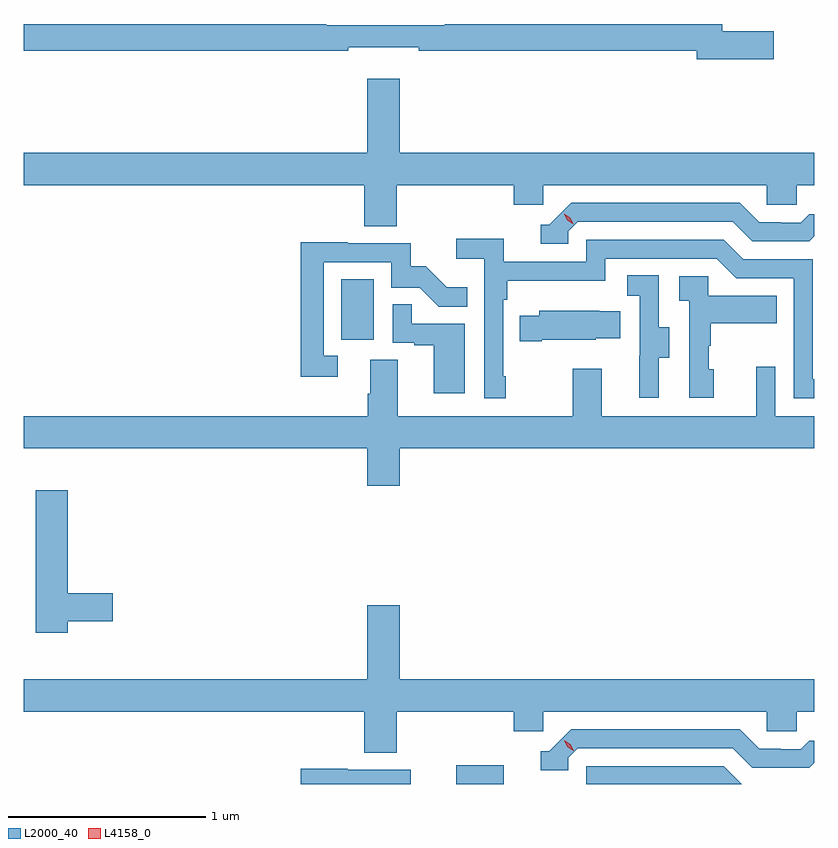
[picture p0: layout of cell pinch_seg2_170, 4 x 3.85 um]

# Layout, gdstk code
import gdstk
lib = gdstk.Library(unit=1e-6, precision=1e-09)
def R(c, l, rs):  # rectangles x0, y0, x1, y1
    for r in rs: c.add(gdstk.rectangle(r[:2], r[2:], *l))
def P(c, l, *ps):  # polygons
    for p in ps: c.add(gdstk.Polygon(p, *l))
L2000_40 = (2000, 40)
L4158_0 = (4158, 0)

pinch_seg2_170 = lib.new_cell('pinch_seg2_170')
R(pinch_seg2_170, L2000_40, [(1142.481,631.286,1142.72,631.382), (1141.898,633.534,1142.062,633.841)])
P(pinch_seg2_170, L2000_40, [(1144.087,635.096),(1143.826,635.096),(1143.826,635.132),(1142.422,635.132),(1142.422,635.125),(1141.822,635.125),(1141.822,635.132),(1140.292,635.132),(1140.292,634.996),(1141.934,634.996),(1141.934,635.015),(1142.29,635.015),(1142.29,634.996),(1143.698,634.996),(1143.698,634.954),(1144.087,634.954)],
  [(1142.18,634.316),(1142.771,634.316),(1142.771,634.218),(1142.922,634.218),(1142.922,634.316),(1144.053,634.316),(1144.053,634.218),(1144.203,634.218),(1144.203,634.316),(1144.292,634.316),(1144.292,634.48),(1142.194,634.48),(1142.194,634.855),(1142.03,634.855),(1142.03,634.48),(1140.292,634.48),(1140.292,634.316),(1142.015,634.316),(1142.015,634.108),(1142.18,634.108)],
  [(1143.048,634.083),(1143.096,634.131),(1143.879,634.131),(1143.978,634.032),(1144.267,634.032),(1144.292,634.057),(1144.292,634.168),(1144.267,634.168),(1144.225,634.125),(1144.122,634.125),(1144.122,634.128),(1144.015,634.128),(1143.916,634.227),(1143.063,634.227),(1142.952,634.116),(1142.909,634.116),(1142.909,634.02),(1143.048,634.02)],
  [(1142.731,633.349),(1142.718,633.349),(1142.718,633.737),(1142.738,633.737),(1142.738,633.833),(1143.234,633.833),(1143.234,633.945),(1143.798,633.945),(1143.897,633.846),(1144.188,633.846),(1144.188,633.237),(1144.292,633.237),(1144.292,633.333),(1144.284,633.333),(1144.284,633.942),(1143.934,633.942),(1143.835,634.041),(1143.138,634.041),(1143.138,633.93),(1142.72,633.93),(1142.72,634.046),(1142.481,634.046),(1142.481,633.944),(1142.622,633.944),(1142.622,633.237),(1142.731,633.237)],
  [(1141.882,633.453),(1141.809,633.453),(1141.809,633.927),(1142.151,633.927),(1142.151,633.798),(1142.295,633.798),(1142.393,633.7),(1142.537,633.7),(1142.537,633.799),(1142.433,633.799),(1142.326,633.906),(1142.25,633.906),(1142.25,634.023),(1141.931,634.023),(1141.931,634.028),(1141.693,634.028),(1141.693,633.348),(1141.882,633.348)],
  [(1143.505,633.442),(1143.559,633.442),(1143.559,633.597),(1143.504,633.597),(1143.504,633.86),(1143.345,633.86),(1143.345,633.757),(1143.408,633.757),(1143.408,633.453),(1143.407,633.453),(1143.407,633.24),(1143.505,633.24)],
  [(1143.784,633.384),(1143.759,633.384),(1143.759,633.503),(1143.769,633.503),(1143.769,633.617),(1144.103,633.617),(1144.103,633.757),(1143.756,633.757),(1143.756,633.855),(1143.609,633.855),(1143.609,633.731),(1143.66,633.731),(1143.66,633.24),(1143.784,633.24)],
  [(1142.524,633.615),(1142.255,633.615),(1142.255,633.713),(1142.16,633.713),(1142.16,633.519),(1142.267,633.519),(1142.267,633.507),(1142.366,633.507),(1142.366,633.264),(1142.524,633.264)],
  [(1142.914,633.533),(1143.186,633.533),(1143.186,633.542),(1143.311,633.542),(1143.311,633.679),(1143.203,633.679),(1143.203,633.682),(1142.901,633.682),(1142.901,633.655),(1142.803,633.655),(1142.803,633.526),(1142.914,633.526)],
  [(1142.194,632.984),(1144.292,632.984),(1144.292,633.148),(1144.095,633.148),(1144.095,633.397),(1143.998,633.397),(1143.998,633.148),(1143.217,633.148),(1143.217,633.388),(1143.07,633.388),(1143.07,633.148),(1142.185,633.148),(1142.185,633.434),(1142.045,633.434),(1142.045,633.26),(1142.033,633.26),(1142.033,633.148),(1140.292,633.148),(1140.292,632.984),(1142.03,632.984),(1142.03,632.796),(1142.194,632.796)],
  [(1140.514,632.11),(1140.742,632.11),(1140.742,632.252),(1140.514,632.252),(1140.514,632.773),(1140.353,632.773),(1140.353,632.052),(1140.514,632.052)],
  [(1142.18,631.652),(1142.771,631.652),(1142.771,631.554),(1142.922,631.554),(1142.922,631.652),(1144.053,631.652),(1144.053,631.554),(1144.203,631.554),(1144.203,631.652),(1144.292,631.652),(1144.292,631.816),(1142.194,631.816),(1142.194,632.191),(1142.03,632.191),(1142.03,631.816),(1140.292,631.816),(1140.292,631.652),(1142.015,631.652),(1142.015,631.444),(1142.18,631.444)],
  [(1143.048,631.419),(1143.096,631.467),(1143.879,631.467),(1143.978,631.368),(1144.267,631.368),(1144.292,631.393),(1144.292,631.504),(1144.267,631.504),(1144.225,631.461),(1144.122,631.461),(1144.122,631.464),(1144.015,631.464),(1143.916,631.563),(1143.063,631.563),(1142.952,631.452),(1142.909,631.452),(1142.909,631.356),(1143.048,631.356)],
  [(1143.835,631.377),(1143.138,631.377),(1143.138,631.286),(1143.926,631.286)],
  [(1142.25,631.359),(1141.931,631.359),(1141.931,631.364),(1141.693,631.364),(1141.693,631.286),(1142.25,631.286)])
P(pinch_seg2_170, L4158_0, [(1143.073,631.455),(1143.043,631.474),(1143.027,631.507),(1143.027,631.507),(1143.028,631.507),(1143.058,631.488),(1143.074,631.455),(1143.074,631.455)],
  [(1143.073,634.118),(1143.042,634.138),(1143.027,634.171),(1143.027,634.171),(1143.027,634.171),(1143.058,634.151),(1143.073,634.118),(1143.073,634.118)])

lib.write_gds('pinch_seg2_170.gds')
